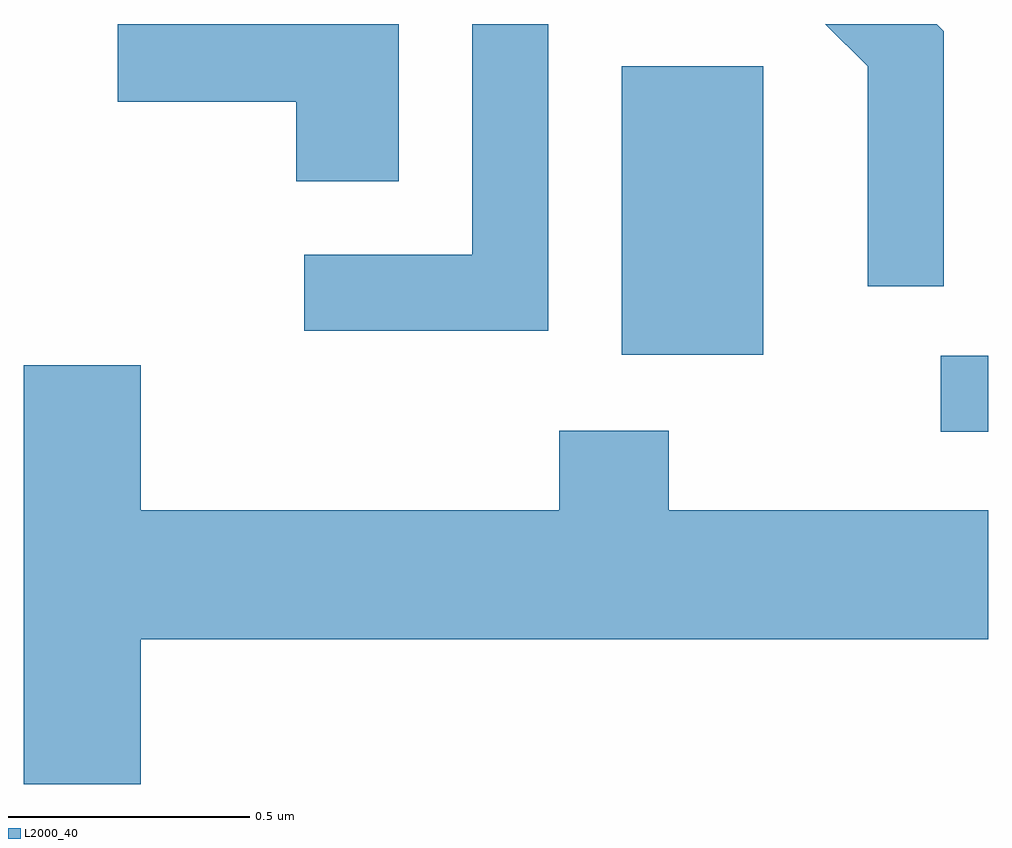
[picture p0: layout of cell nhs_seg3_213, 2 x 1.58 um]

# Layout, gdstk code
import gdstk
lib = gdstk.Library(unit=1e-6, precision=1e-09)
def R(c, l, rs):  # rectangles x0, y0, x1, y1
    for r in rs: c.add(gdstk.rectangle(r[:2], r[2:], *l))
def P(c, l, *ps):  # polygons
    for p in ps: c.add(gdstk.Polygon(p, *l))
L2000_40 = (2000, 40)

nhs_seg3_213 = lib.new_cell('nhs_seg3_213')
R(nhs_seg3_213, L2000_40, [(188.513,1193.046,188.611,1193.204), (187.851,1193.206,188.144,1193.804)])
P(nhs_seg3_213, L2000_40, [(187.699,1193.892),(187.541,1193.892),(187.541,1193.414),(187.193,1193.414),(187.193,1193.256),(187.699,1193.256)],
  [(188.519,1193.877),(188.504,1193.892),(188.273,1193.892),(188.361,1193.804),(188.361,1193.348),(188.519,1193.348)],
  [(187.389,1193.892),(186.806,1193.892),(186.806,1193.731),(187.176,1193.731),(187.176,1193.566),(187.389,1193.566)],
  [(186.854,1192.616),(188.611,1192.616),(188.611,1192.884),(187.949,1192.884),(187.949,1193.049),(187.721,1193.049),(187.721,1192.884),(186.854,1192.884),(186.854,1193.184),(186.611,1193.184),(186.611,1192.316),(186.854,1192.316)])

lib.write_gds('nhs_seg3_213.gds')
